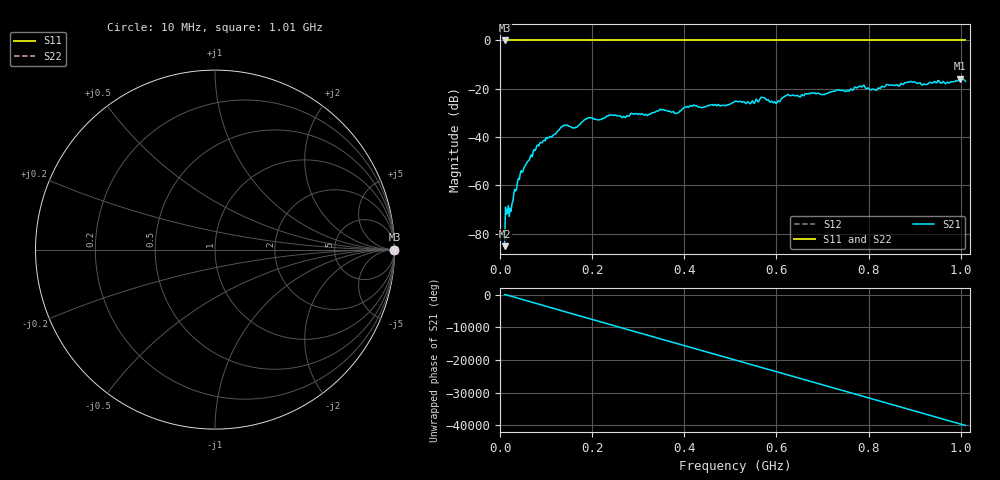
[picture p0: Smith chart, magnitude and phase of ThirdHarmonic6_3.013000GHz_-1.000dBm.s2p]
! 8/17/2025 8:39:01 AM
! C:\ANRITSUVNA\TEMP\TEMP.S2P
! CHANNEL.1
! TR.MEASUREMENT
! RAW.DATA
! RF.CORRECTION.OFF
! AVERAGING.OFF
! IF.BANDWIDTH: 5KHZ
! SWEEPTYPE:  FREQ.SWEEP(Linear)
! Reference Plane Port Info
! PORT:  PORT1  PORT2
! DISTANCE:  0  m  0  m
! TIME:  0  s  0  s
! PHASE.OFFSET:  0  deg.  0  deg.
! LOSS:  0  dB  0  dB
! REF.LOSS:  0  dB  0  dB
! REF.FREQ:  0  Hz  0  Hz
! Power Info
! POWER:  -20  dBm  -20  dBm
! EFF.POWER:  -20  dBm  -20  dBm
! SOURCE.ATTEN:  0  dB  0  dB
! TEST.ATTEN:  0  dB  0  dB
# GHZ S RI R 50.0
! FREQ.GHZ  S11RE  S11IM  S21RE  S21IM  S12RE  S12IM  S22RE  S22IM
!; PortSelection: Port_12
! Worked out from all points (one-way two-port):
!   501 points, 10 MHz to 1.01 GHz, reference 50 ohm
!   highest |S21| = -15.85 dB at 998 MHz (marker M1); lowest = -85.2 dB at 10 MHz (marker M2)
!   lowest |S11| = 0.0 dB at 10 MHz (marker M3)
!   |S11| at or under -10 dB: nowhere
!   |S22| runs from 0.0 to 0.0 dB; largest |S21 - S12| = 1.1
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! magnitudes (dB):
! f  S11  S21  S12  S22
! 10 MHz  0.0  -85.2  0.0  0.0
! 16 MHz  0.0  -71.5  0.0  0.0
! 24 MHz  0.0  -70.7  0.0  0.0
! 42 MHz  0.0  -57.5  0.0  0.0
! 78 MHz  0.0  -44.8  0.0  0.0
! 136 MHz  0.0  -35.6  0.0  0.0
! 162 MHz  0.0  -36.2  0.0  0.0
! 178 MHz  0.0  -33.7  0.0  0.0
! 344 MHz  0.0  -29.2  0.0  0.0
! 384 MHz  0.0  -30.1  0.0  0.0
! 416 MHz  0.0  -27.3  0.0  0.0
! 510 MHz  0.0  -25.2  0.0  0.0
! 548 MHz  0.0  -24.9  0.0  0.0
! 570 MHz  0.0  -23.6  0.0  0.0
! 596 MHz  0.0  -25.4  0.0  0.0
! 622 MHz  0.0  -22.7  0.0  0.0
! 678 MHz  0.0  -21.8  0.0  0.0
! 786 MHz  0.0  -19.2  0.0  0.0
! 814 MHz  0.0  -20.5  0.0  0.0
! 844 MHz  0.0  -18.5  0.0  0.0
! 998 MHz  0.0  -15.8  0.0  0.0
! 1.01 GHz  0.0  -16.8  0.0  0.0
